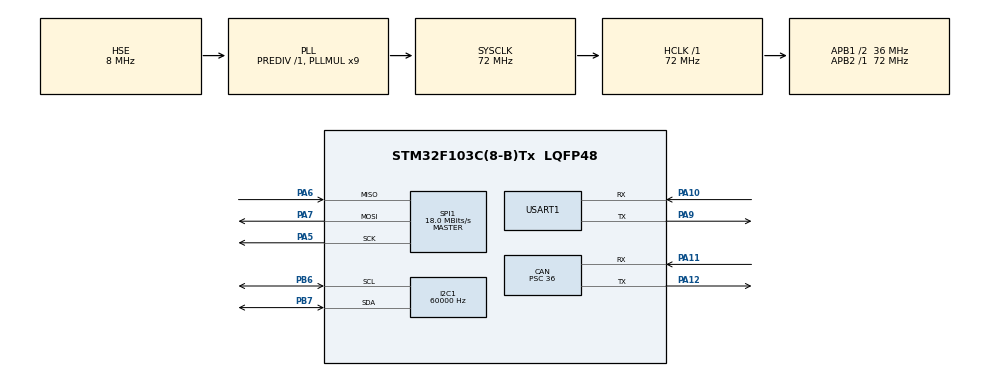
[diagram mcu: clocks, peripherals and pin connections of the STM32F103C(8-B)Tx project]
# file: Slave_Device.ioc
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CAN.ABOM=ENABLE
CAN.AWUM=ENABLE
CAN.BS1=CAN_BS1_3TQ
CAN.BS2=CAN_BS2_6TQ
CAN.CalculateBaudRate=100000
CAN.CalculateTimeBit=10000
CAN.CalculateTimeQuantum=1000.0
CAN.Prescaler=36
CAN.SJW=CAN_SJW_2TQ
I2C1.ClockSpeed=60000
Mcu.Family=STM32F1
Mcu.Name=STM32F103C(8-B)Tx
Mcu.Package=LQFP48
NVIC.PriorityGroup=NVIC_PRIORITYGROUP_4
PA10.Mode=Asynchronous
PA10.Signal=USART1_RX
PA11.Mode=CAN_Activate
PA11.Signal=CAN_RX
PA12.Mode=CAN_Activate
PA12.Signal=CAN_TX
PA13.Mode=Serial_Wire
PA13.Signal=SYS_JTMS-SWDIO
PA14.Mode=Serial_Wire
PA14.Signal=SYS_JTCK-SWCLK
PA5.Mode=Full_Duplex_Master
PA5.Signal=SPI1_SCK
PA6.Mode=Full_Duplex_Master
PA6.Signal=SPI1_MISO
PA7.Mode=Full_Duplex_Master
PA7.Signal=SPI1_MOSI
PA9.Mode=Asynchronous
PA9.Signal=USART1_TX
PB6.Mode=I2C
PB6.Signal=I2C1_SCL
PB7.Mode=I2C
PB7.Signal=I2C1_SDA
PC14-OSC32_IN.Mode=LSE-External-Oscillator
PC14-OSC32_IN.Signal=RCC_OSC32_IN
PC15-OSC32_OUT.Mode=LSE-External-Oscillator
PC15-OSC32_OUT.Signal=RCC_OSC32_OUT
PD0-OSC_IN.Mode=HSE-External-Oscillator
PD0-OSC_IN.Signal=RCC_OSC_IN
PD1-OSC_OUT.Mode=HSE-External-Oscillator
PD1-OSC_OUT.Signal=RCC_OSC_OUT
ProjectManager.HeapSize=0x200
ProjectManager.StackSize=0x400
ProjectManager.TargetToolchain=MDK-ARM V5.32
RCC.AHBFreq_Value=72000000
RCC.APB1CLKDivider=RCC_HCLK_DIV2
RCC.APB1Freq_Value=36000000
RCC.APB1TimFreq_Value=72000000
RCC.APB2Freq_Value=72000000
RCC.APB2TimFreq_Value=72000000
RCC.HCLKFreq_Value=72000000
RCC.PLLMUL=RCC_PLL_MUL9
RCC.PLLSourceVirtual=RCC_PLLSOURCE_HSE
RCC.SYSCLKFreq_VALUE=72000000
RCC.SYSCLKSource=RCC_SYSCLKSOURCE_PLLCLK
RCC.USBFreq_Value=72000000
SPI1.BaudRatePrescaler=SPI_BAUDRATEPRESCALER_4
SPI1.CRCCalculation=SPI_CRCCALCULATION_DISABLE
SPI1.CalculateBaudRate=18.0 MBits/s
SPI1.Direction=SPI_DIRECTION_2LINES
SPI1.Mode=SPI_MODE_MASTER
SPI1.VirtualType=VM_MASTER
USART1.VirtualMode=VM_ASYNC
board=custom

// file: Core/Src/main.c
/* USER CODE BEGIN Header */
/**
  ******************************************************************************
  * @file           : main.c
  * @brief          : Main program body
  ******************************************************************************
  * @attention
  *
  * Copyright (c) 2026 STMicroelectronics.
  * All rights reserved.
  *
  * This software is licensed under terms that can be found in the LICENSE file
  * in the root directory of this software component.
  * If no LICENSE file comes with this software, it is provided AS-IS.
  *
  ******************************************************************************
  */
/* USER CODE END Header */
#include "main.h"
#include "can.h"
#include "i2c.h"
#include "spi.h"
#include "usart.h"
#include "gpio.h"

/* USER CODE BEGIN Includes */
#include "string.h"
#include "EEPROM.h"
#include "w25q64.h"
#include "app.h"
/* USER CODE END Includes */

void SystemClock_Config(void);

int main(void)
{

  /* MCU Configuration--------------------------------------------------------*/

  /* Reset of all peripherals, Initializes the Flash interface and the Systick. */
  HAL_Init();

  /* Configure the system clock */
  SystemClock_Config();

  /* Initialize all configured peripherals */
  MX_GPIO_Init();
  MX_CAN_Init();
  MX_I2C1_Init();
  MX_SPI1_Init();
  MX_USART1_UART_Init();
  /* USER CODE BEGIN 2 */
  CAN_FilterConfig();
  HAL_CAN_Start(&hcan);

  uint8_t current_version[4]={0};
  uint8_t current_app_size_arr[4]={0};
  uint32_t current_app_size=0;
  //读取当前版本号
  EEPROM_Read_Bytes(CURRENT_VERSION_NUM_STRADDR,current_version,VERSION_NUM_SIZE);
	printf("current_version:");
	for(int i=0;i<VERSION_NUM_SIZE;i++)
		{
				printf("%c",current_version[i]);
		}

  //读取当前版本大小,
  EEPROM_Read_Bytes(CURRENT_VERSION_SIZE_STRADDR,current_app_size_arr,APP_SIZE_STRLEN);
  current_app_size=current_app_size_arr[0]|(current_app_size_arr[1]<<8)|(current_app_size_arr[2]<<16)|(current_app_size_arr[3]<<24);
  printf("\r\ncurrent_app_size:%d\r\n",current_app_size);

  printf("slave start...\r\n");
  //存储报文信息
  RxMsg msg[8]={0};
  //报文数量
  uint16_t MsgCount=0;
  /* USER CODE END WHILE */
  //接收到version，发送版本信息
  CAN_ReceiveMsg(msg,&MsgCount);
  printf_Infor_from_CAN(msg,MsgCount);
  if(MsgCount==1&&strcmp((const char*)msg[0].data,"version")==0)
    {
      CAN_SendMsg_long(stdID,current_version,VERSION_NUM_SIZE);
		  printf("send current_version successfully\r\n");
    }

  //接收版本比较结果
  memset(msg,0,sizeof(msg));
  CAN_ReceiveMsg(msg,&MsgCount);
  printf_Infor_from_CAN(msg,MsgCount);

  //更新操作
  uint8_t backup_version[5]={0};
  if(MsgCount==1&&strcmp((const char*)msg[0].data,"YES")==0)
  {
    /*
      备份旧版本app到w25q64
    */
    //获取之前备份的版本号
    EEPROM_Read_Bytes(BACKUP_VERSION_NUM_STRADDR,backup_version,VERSION_NUM_SIZE);
    //版本不一致，从flash中读取并备份当前版本
    if(memcmp(current_version,backup_version,VERSION_NUM_SIZE)!=0)
    {
      printf("Starting backup.\r\n");
      //将要备份的app写入到w25q64
      W25Q64_Get_App_From_Flash(APP_START_ADDR_FLASH,current_app_size);
      //将flash中的app的版本号和大小写入到eeprom中
      EEPROM_Write_Bytes(BACKUP_VERSION_NUM_STRADDR,current_version);
      EEPROM_Write_Bytes(BACKUP_VERSION_SIZE_STRADDR,current_app_size_arr);
      printf("backup successfully!\r\n");
    }
    //版本一致，不需要重复备份
    else printf("No need backup.\r\n");

    /*
    接收新版本app并写入到flash
    */
    //发送start,告诉host开始发送
    uint8_t *data="start1";
    CAN_SendMsg_long(stdID,data,strlen((const char *)data));
		printf("Send 'start1' successfully.\r\n");

    //接收最新app版本号
    printf("Receiving app version num.\r\n");
    uint8_t last_version[4]={0};
    CAN_ReceiveMsg(msg,&MsgCount);
    memcpy(last_version,msg[0].data,4);
    printf("Received app version num:");
    for(int i=0;i<4;i++)
    {
      printf("%c",last_version[i]);
    }

    //接收最新app大小，Byte
		printf("\r\nReceiving app size.\r\n");
    memset(msg,0,sizeof(msg));
    CAN_ReceiveMsg(msg,&MsgCount);
    uint16_t app_size=(msg[0].data[0])|(msg[0].data[1]<<8);
    printf("Received app_size:%d Byte\r\n",app_size);

    //擦除flash
    Flash_Erase(APP_START_ADDR_FLASH,app_size);
    printf("Flash_Erase finished.\r\n");

    data="start2";
    CAN_SendMsg_long(stdID,data,strlen((const char *)data));
		printf("Send 'start2' successfully.\r\n");

    //开始接收app内容并写入
    CAN_Receive_App_to_FLASH(app_size);

    //更新EEPROM中CURRENT_VERSION_NUM_STRADDR和CURRENT_VERSION_SIZE_STRADDR处的值
    EEPROM_Write_Bytes(CURRENT_VERSION_NUM_STRADDR,last_version);
    uint8_t last_app_size[2]={msg[0].data[0],msg[0].data[1]};
    EEPROM_Write_Bytes(CURRENT_VERSION_SIZE_STRADDR,last_app_size);

    printf("receive successfully!\r\n");
  }
  //不更新
  else if(MsgCount==1&&strcmp((const char*)msg[0].data,"NO")==0)
  {
    printf("No needed update .\r\n");
  }

	//跳转到app
	jump();

  /* USER CODE END 2 */

  /* Infinite loop */
  /* USER CODE BEGIN WHILE */
  while (1)
  {
  }
}

void SystemClock_Config(void)
{
  RCC_OscInitTypeDef RCC_OscInitStruct = {0};
  RCC_ClkInitTypeDef RCC_ClkInitStruct = {0};

  /** Initializes the RCC Oscillators according to the specified parameters
  * in the RCC_OscInitTypeDef structure.
  */
  RCC_OscInitStruct.OscillatorType = RCC_OSCILLATORTYPE_HSE;
  RCC_OscInitStruct.HSEState = RCC_HSE_ON;
  RCC_OscInitStruct.HSEPredivValue = RCC_HSE_PREDIV_DIV1;
  RCC_OscInitStruct.HSIState = RCC_HSI_ON;
  RCC_OscInitStruct.PLL.PLLState = RCC_PLL_ON;
  RCC_OscInitStruct.PLL.PLLSource = RCC_PLLSOURCE_HSE;
  RCC_OscInitStruct.PLL.PLLMUL = RCC_PLL_MUL9;
  if (HAL_RCC_OscConfig(&RCC_OscInitStruct) != HAL_OK)
  {
    Error_Handler();
  }

  /** Initializes the CPU, AHB and APB buses clocks
  */
  RCC_ClkInitStruct.ClockType = RCC_CLOCKTYPE_HCLK|RCC_CLOCKTYPE_SYSCLK
                              |RCC_CLOCKTYPE_PCLK1|RCC_CLOCKTYPE_PCLK2;
  RCC_ClkInitStruct.SYSCLKSource = RCC_SYSCLKSOURCE_PLLCLK;
  RCC_ClkInitStruct.AHBCLKDivider = RCC_SYSCLK_DIV1;
  RCC_ClkInitStruct.APB1CLKDivider = RCC_HCLK_DIV2;
  RCC_ClkInitStruct.APB2CLKDivider = RCC_HCLK_DIV1;

  if (HAL_RCC_ClockConfig(&RCC_ClkInitStruct, FLASH_LATENCY_2) != HAL_OK)
  {
    Error_Handler();
  }
}

void Error_Handler(void)
{
  __disable_irq();
  while (1)
  {
  }
}
